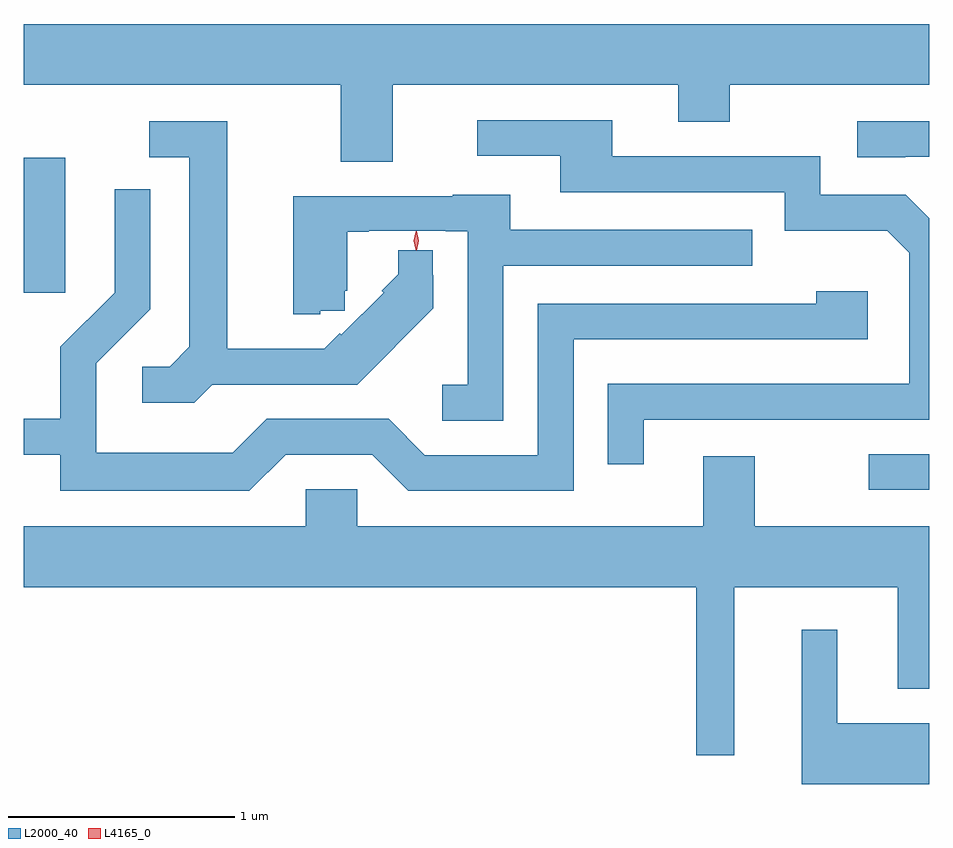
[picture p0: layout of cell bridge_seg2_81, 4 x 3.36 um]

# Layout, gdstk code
import gdstk
lib = gdstk.Library(unit=1e-6, precision=1e-09)
def R(c, l, rs):  # rectangles x0, y0, x1, y1
    for r in rs: c.add(gdstk.rectangle(r[:2], r[2:], *l))
def P(c, l, *ps):  # polygons
    for p in ps: c.add(gdstk.Polygon(p, *l))
L2000_40 = (2000, 40)
L4165_0 = (4165, 0)

bridge_seg2_81 = lib.new_cell('bridge_seg2_81')
R(bridge_seg2_81, L2000_40, [(1218.443,1110.906,1218.71,1111.064), (1214.71,1111.776,1214.894,1112.374)])
P(bridge_seg2_81, L2000_40, [(1216.339,1112.696),(1217.601,1112.696),(1217.601,1112.531),(1217.829,1112.531),(1217.829,1112.696),(1218.71,1112.696),(1218.71,1112.964),(1214.71,1112.964),(1214.71,1112.696),(1216.111,1112.696),(1216.111,1112.356),(1216.339,1112.356)],
  [(1217.449,1111.216),(1218.71,1111.216),(1218.71,1112.106),(1218.607,1112.209),(1218.229,1112.209),(1218.229,1112.379),(1217.309,1112.379),(1217.309,1112.539),(1216.713,1112.539),(1216.713,1112.381),(1217.081,1112.381),(1217.081,1112.221),(1218.071,1112.221),(1218.071,1112.051),(1218.524,1112.051),(1218.621,1111.954),(1218.621,1111.374),(1217.291,1111.374),(1217.291,1111.018),(1217.449,1111.018)],
  [(1215.542,1111.371),(1216.184,1111.371),(1216.519,1111.707),(1216.519,1111.853),(1216.516,1111.853),(1216.516,1111.965),(1216.365,1111.965),(1216.365,1111.859),(1216.292,1111.785),(1216.3,1111.777),(1216.113,1111.591),(1216.106,1111.597),(1216.038,1111.529),(1215.609,1111.529),(1215.609,1112.534),(1215.263,1112.534),(1215.263,1112.376),(1215.441,1112.376),(1215.441,1111.537),(1215.354,1111.449),(1215.233,1111.449),(1215.233,1111.291),(1215.462,1111.291)],
  [(1218.605,1112.378),(1218.71,1112.378),(1218.71,1112.534),(1218.393,1112.534),(1218.393,1112.376),(1218.605,1112.376)],
  [(1215.867,1111.061),(1216.249,1111.061),(1216.409,1110.901),(1217.139,1110.901),(1217.139,1111.571),(1218.439,1111.571),(1218.439,1111.784),(1218.211,1111.784),(1218.211,1111.729),(1216.981,1111.729),(1216.981,1111.059),(1216.482,1111.059),(1216.322,1111.219),(1215.784,1111.219),(1215.634,1111.069),(1215.029,1111.069),(1215.029,1111.464),(1215.269,1111.704),(1215.269,1112.233),(1215.111,1112.233),(1215.111,1111.777),(1214.871,1111.537),(1214.871,1111.219),(1214.71,1111.219),(1214.71,1111.061),(1214.871,1111.061),(1214.871,1110.901),(1215.707,1110.901)],
  [(1216.829,1111.896),(1217.928,1111.896),(1217.928,1112.054),(1216.859,1112.054),(1216.859,1112.209),(1216.605,1112.209),(1216.605,1112.204),(1215.901,1112.204),(1215.901,1111.681),(1216.02,1111.681),(1216.02,1111.698),(1216.128,1111.698),(1216.128,1111.785),(1216.138,1111.785),(1216.138,1112.046),(1216.235,1112.046),(1216.235,1112.05),(1216.575,1112.05),(1216.575,1112.049),(1216.671,1112.049),(1216.671,1111.369),(1216.558,1111.369),(1216.558,1111.211),(1216.829,1111.211)],
  [(1217.849,1110.476),(1218.571,1110.476),(1218.571,1110.026),(1218.71,1110.026),(1218.71,1110.744),(1217.939,1110.744),(1217.939,1111.054),(1217.711,1111.054),(1217.711,1110.744),(1216.184,1110.744),(1216.184,1110.909),(1215.956,1110.909),(1215.956,1110.744),(1214.71,1110.744),(1214.71,1110.476),(1217.681,1110.476),(1217.681,1109.733),(1217.849,1109.733)],
  [(1218.71,1109.874),(1218.304,1109.874),(1218.304,1110.288),(1218.146,1110.288),(1218.146,1109.606),(1218.71,1109.606)])
P(bridge_seg2_81, L4165_0, [(1216.442,1111.966),(1216.442,1111.967),(1216.432,1112.006),(1216.442,1112.046),(1216.442,1112.046),(1216.443,1112.046),(1216.452,1112.006),(1216.442,1111.967)],
  [(1216.444,1111.964),(1216.444,1111.964),(1216.435,1112.006),(1216.444,1112.048),(1216.445,1112.049),(1216.445,1112.048),(1216.454,1112.006),(1216.445,1111.964)])

lib.write_gds('bridge_seg2_81.gds')
